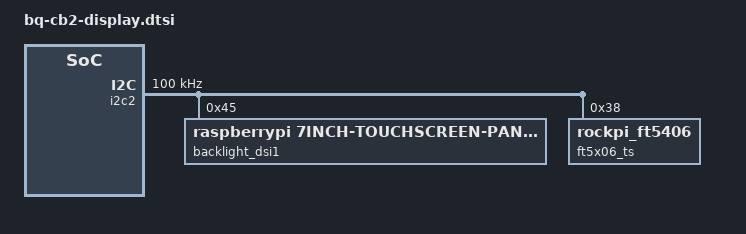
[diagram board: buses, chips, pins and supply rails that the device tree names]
// SPDX-License-Identifier: (GPL-2.0+ OR MIT)
/*
 * Copyright (c) 2020 Rockchip Electronics Co., Ltd.
 *
 */

&route_dsi0 {
    status = "disabled";//"okay";
    connect = <&vp0_out_dsi0>;
};

&video_phy0 {
    status = "disabled";//"okay";
};

&dsi0_in_vp0 {
    status = "disabled";//"okay";
};

&dsi0_in_vp1 {
    status = "disabled";
};

&route_dsi1 {
    status = "disabled"; // //  "okay";          +0
    connect = <&vp1_out_dsi1>;
};

&video_phy1 {
    status = "disabled";  // "okay";            +1
};

&dsi1_in_vp0 {
    status = "disabled"; 
};

&dsi1_in_vp1 {
    status = "disabled"; //status = "okay";     +2
};

//&route_hdmi {
//	status = "disabled";//"okay";//"disabled";
//	connect = <&vp1_out_hdmi>;
//};
//
//&hdmi {
//	status = "disabled";//;"okay"
//};
//
//&hdmi_in_vp0 {
//	status = "disabled";
//};

&hdmi_in_vp1 {
	status = "disabled";
};

&dsi1 {
    status = "disabled";   //"disabled";                                       
	dsi1_panel: dsi-panel@0 {
				compatible = "raspits,tc358762";
				reg = <0x0>;
				status = "okay"; //"disabled";

				ports {
					#address-cells = <1>;
					#size-cells = <0>;

					port@0 {
						reg = <0>;
						panel_in_dsi1: endpoint {
							remote-endpoint = <&dsi1_out_bridge>;    //+3
							status = "disabled";  //status ="okay";
						};
					};
				};
	};

	
    ports {
        #address-cells = <1>;
        #size-cells = <0>;

        port@1 {
            reg = <1>;
            dsi1_out_bridge: endpoint {
                remote-endpoint = <&panel_in_dsi1>;
            };
        };
	};
};

&i2c2 {
	status = "okay";
	pinctrl-names = "default";
	clock-frequency = <100000>;
	pinctrl-0 = <&i2c2m1_xfer>;
	avdd-1v8-supply = <&vcca1v8_image>;
	avdd-0v9-supply = <&vdda0v9_image>;
	power-domains = <&power RK3568_PD_VI>;
	#address-cells = <1>;
	#size-cells = <0>;
	backlight_dsi1:backlight@45{ /*背光地址0x45*/
		compatible = "raspberrypi,7inch-touchscreen-panel-regulator";
		reg = <0x45>;
		status = "okay";
    };
	ft5x06_ts@38 { /*触屏地址0x38*/
		compatible = "rockpi_ft5406", "ft5x06";
		reg = <0x38>;
		//interrupt-parent = <&gpio0>;
		//interrupts = <13 IRQ_TYPE_LEVEL_LOW>;
		//power-domains = <&power RK3568_PD_VI>;
		//reset-gpios = <&gpio0 RK_PB6 GPIO_ACTIVE_LOW>;
		touchscreen-size-x = < 800 >;
		touchscreen-size-y = < 480 >;
		status = "okay";
	};	
};

